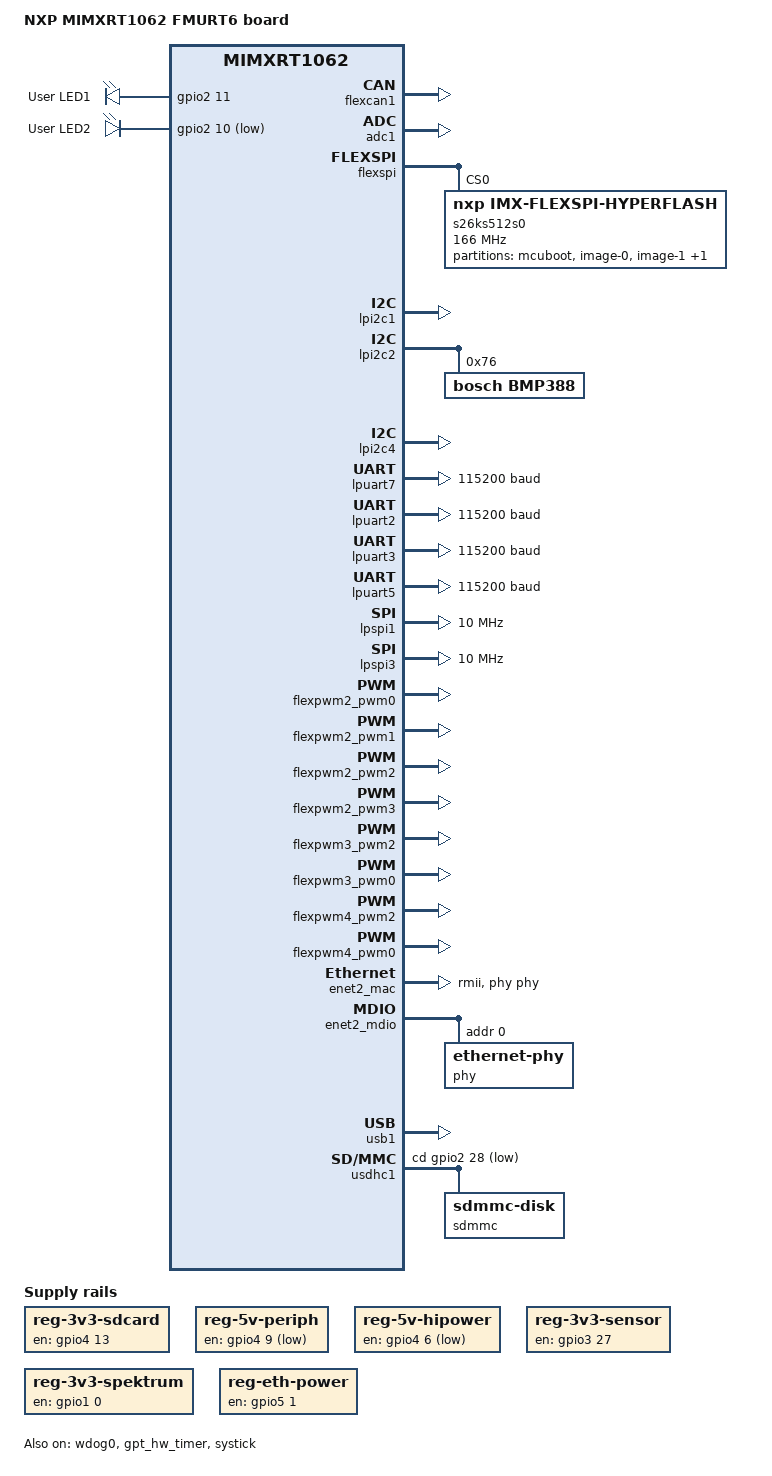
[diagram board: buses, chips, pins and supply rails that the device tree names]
/*
 * SPDX-License-Identifier: Apache-2.0
 *
 * Copyright 2023 NXP
 */

/dts-v1/;

#include <nxp/nxp_rt1060.dtsi>
#include "mimxrt1062_fmurt6-pinctrl.dtsi"
#include <zephyr/dt-bindings/pwm/pwm.h>
#include <freq.h>

/ {
	model = "NXP MIMXRT1062 FMURT6 board";
	compatible = "nxp,mimxrt1062";

	aliases {
		led0 = &green_led;
		led1 = &red_led;
		watchdog0 = &wdog0;
		sdhc0 = &usdhc1;
		gps1 = &lpuart2;
		telem1 = &lpuart3;
		telem4-gps2 = &lpuart5;
	};

	chosen {
		zephyr,flash-controller = &s26ks512s0;
		zephyr,flash = &s26ks512s0;
		zephyr,code-partition = &slot0_partition;
		zephyr,uart-mcumgr = &lpuart7;
		zephyr,sram = &ocram;
		zephyr,itcm = &itcm;
		zephyr,dtcm = &dtcm;
		zephyr,console = &lpuart7;
		zephyr,shell-uart = &lpuart7;
		zephyr,canbus = &flexcan1;
	};

	leds {
		compatible = "gpio-leds";
		green_led: led-1 {
			gpios = <&gpio2 11 GPIO_ACTIVE_HIGH>;
			label = "User LED1";
		};
		red_led: led-2 {
			gpios = <&gpio2 10 GPIO_ACTIVE_LOW>;
			label = "User LED2";
		};
	};

	/* This regulator controls VDD_3V3_SD_CARD onboard supply */
	reg-3v3-sdcard {
		compatible = "regulator-fixed";
		regulator-name = "reg-3v3-sdcard";
		enable-gpios = <&gpio4 13 GPIO_ACTIVE_HIGH>;
		regulator-always-on;
		status = "okay";
	};

	/* This regulator controls VDD_5V_PERIPH onboard supply */
	reg-5v-periph {
		compatible = "regulator-fixed";
		regulator-name = "reg-5v-periph";
		enable-gpios = <&gpio4 9 GPIO_ACTIVE_LOW>;
		regulator-always-on;
		status = "okay";
	};

	/* This regulator controls VDD_5V_HIPOWER onboard supply */
	reg-5v-hipower {
		compatible = "regulator-fixed";
		regulator-name = "reg-5v-hipower";
		enable-gpios = <&gpio4 6 GPIO_ACTIVE_LOW>;
		regulator-always-on;
		status = "okay";
	};

	/* This regulator controls the 3V3_S line, which powers sensors on-board. */
	reg-3v3-sensor {
		compatible = "regulator-fixed";
		regulator-name = "reg-3v3-sensor";
		enable-gpios = <&gpio3 27 GPIO_ACTIVE_HIGH>;
		startup-delay-us = <2000>;
		regulator-always-on;
		status = "okay";
	};

	/* This regulator controls VDD_3V3_SPEKTRUM onboard supply */
	reg-3v3-spektrum {
		compatible = "regulator-fixed";
		regulator-name = "reg-3v3-spektrum";
		enable-gpios = <&gpio1 0 GPIO_ACTIVE_HIGH>;
		regulator-always-on;
		status = "okay";
	};

	/* This regulator controls ETH_VDD_3V3 supply to power up the TJA1103 PHY */
	reg-eth-power {
		compatible = "regulator-fixed";
		regulator-name = "reg-eth-power";
		enable-gpios = <&gpio5 1 GPIO_ACTIVE_HIGH>;
		regulator-always-on;
		status = "okay";
	};
};

&flexcan1 {
	status = "okay";
	pinctrl-0 = <&pinmux_flexcan1>;
	pinctrl-names = "default";
	can-transceiver {
		max-bitrate = <5000000>;
	};
};

&flexcan2 {
	status = "disabled";
	pinctrl-0 = <&pinmux_flexcan2>;
	pinctrl-names = "default";
	can-transceiver {
		max-bitrate = <5000000>;
	};
};

&flexcan3 {
	status = "disabled";
	pinctrl-0 = <&pinmux_flexcan3>;
	pinctrl-names = "default";
	can-transceiver {
		max-bitrate = <5000000>;
	};
};

&gpio1 {
	status = "okay";
};

&gpio2 {
	status = "okay";
};

&gpio3 {
	status = "okay";
};

&gpio4 {
	status = "okay";
};

&gpio5 {
	status = "okay";
};

&gpio6 {
	status = "okay";
};

&gpio7 {
	status = "okay";
};

&gpio8 {
	status = "okay";
};

&gpio9 {
	status = "okay";
};

&adc1 {
	status = "okay";
	pinctrl-0 = <&pinmux_adc1>;
	pinctrl-names = "default";
};

&flexspi {
	status = "okay";
	ahb-prefetch;
	ahb-read-addr-opt;
	ahb-bufferable;
	ahb-cacheable;
	sck-differential-clock;
	combination-mode;
	rx-clock-source = <3>;
	reg = <0x402a8000 0x4000>, <0x60000000 DT_SIZE_M(64)>;
	s26ks512s0: s26ks512s@0 {
		compatible = "nxp,imx-flexspi-hyperflash";
		size = <DT_SIZE_M(64*8)>;
		reg = <0>;
		spi-max-frequency = <166000000>;
		word-addressable;
		cs-interval-unit = <1>;
		cs-interval = <2>;
		cs-hold-time = <0>;
		cs-setup-time = <3>;
		data-valid-time = <1>;
		column-space = <3>;
		ahb-write-wait-unit = <2>;
		ahb-write-wait-interval = <20>;
		status = "okay";
		erase-block-size = <4096>;
		write-block-size = <16>;

		partitions {
			compatible = "fixed-partitions";
			#address-cells = <1>;
			#size-cells = <1>;
			boot_partition: partition@0 {
				label = "mcuboot";
				reg = <0x00000000 DT_SIZE_K(128)>;
			};
			/* The MCUBoot swap-move algorithm uses the last 14 sectors
			 * of the primary slot0 for swap status and move.
			 */
			slot0_partition: partition@20000 {
				label = "image-0";
				reg = <0x00020000 (DT_SIZE_M(3) + DT_SIZE_K(56))>;
			};
			slot1_partition: partition@32E000 {
				label = "image-1";
				reg = <0x0032E000 DT_SIZE_M(3)>;
			};
			storage_partition: partition@62E000 {
				label = "storage";
				reg = <0x0062E000 (DT_SIZE_M(58) - DT_SIZE_K(184))>;
			};
		};
	};
};

&lpi2c1 {
	status = "okay";
	pinctrl-0 = <&pinmux_lpi2c1>;
	pinctrl-names = "default";

};

&lpi2c2 {
	status = "okay";
	pinctrl-0 = <&pinmux_lpi2c2>;
	pinctrl-names = "default";

	bmp388: bmp388@76 {
		compatible = "bosch,bmp388";
		reg = <0x76>;
		status = "okay";
	};
};

&lpi2c4 {
	status = "okay";
	pinctrl-0 = <&pinmux_lpi2c2>;
	pinctrl-names = "default";

	bmm150: bmm150@10 {
		compatible = "bosch,bmm150";
		status = "disabled";
		reg = <0x10>;
	};

};

&lpuart7 {
	status = "okay";
	current-speed = <115200>;
	pinctrl-0 = <&pinmux_lpuart7>;
	pinctrl-1 = <&pinmux_lpuart7_sleep>;
	pinctrl-names = "default", "sleep";
};

&lpuart2 {
	status = "okay";
	current-speed = <115200>;
	pinctrl-0 = <&pinmux_lpuart2>;
	pinctrl-1 = <&pinmux_lpuart2_sleep>;
	pinctrl-names = "default", "sleep";
};

&lpuart3 {
	status = "okay";
	current-speed = <115200>;
	pinctrl-0 = <&pinmux_lpuart3>;
	pinctrl-1 = <&pinmux_lpuart3_sleep>;
	pinctrl-names = "default", "sleep";
};

&lpuart5 {
	status = "okay";
	current-speed = <115200>;
	pinctrl-0 = <&pinmux_lpuart5>;
	pinctrl-1 = <&pinmux_lpuart5_sleep>;
	pinctrl-names = "default", "sleep";
};

&lpspi1 {
	status = "okay";
	pinctrl-0 = <&pinmux_lpspi1>;
	pinctrl-names = "default";
	cs-gpios = <&gpio3 23 GPIO_ACTIVE_LOW>;
	clock-frequency = <DT_FREQ_M(10)>;
};

&lpspi2 {
	status = "disabled";
	pinctrl-0 = <&pinmux_lpspi2>;
	pinctrl-names = "default";
	clock-frequency = <DT_FREQ_M(1)>;

	ism330dhcx: ism330dhcx@0 {
		compatible = "st,ism330dhcx";
		status = "disabled";
		spi-max-frequency = <1000000>;
		reg = <0>;
	};
};


&lpspi3 {
	status = "okay";
	pinctrl-0 = <&pinmux_lpspi3>;
	pinctrl-names = "default";
	/* Accelerometer */
	/* Gyroscope */
	cs-gpios = <&gpio2 31 GPIO_ACTIVE_LOW>,
		   <&gpio2 26 GPIO_ACTIVE_LOW>;

	clock-frequency = <DT_FREQ_M(10)>;
};

&flexpwm2_pwm0 {
	status = "okay";
	pinctrl-0 = <&pinmux_flexpwm_fmu_ch1>;
	pinctrl-names = "default";
	nxp,prescaler = <64>;
};

&flexpwm2_pwm1 {
	status = "okay";
	pinctrl-0 = <&pinmux_flexpwm_fmu_ch2>;
	pinctrl-names = "default";
	nxp,prescaler = <64>;
};

&flexpwm2_pwm2	{
	status = "okay";
	pinctrl-0 = <&pinmux_flexpwm_fmu_ch3>;
	pinctrl-names = "default";
	nxp,prescaler = <64>;
};

&flexpwm2_pwm3	{
	status = "okay";
	pinctrl-0 = <&pinmux_flexpwm_fmu_ch4>;
	pinctrl-names = "default";
	nxp,prescaler = <64>;
};

&flexpwm3_pwm2	{
	status = "okay";
	pinctrl-0 = <&pinmux_flexpwm_fmu_ch5>;
	pinctrl-names = "default";
	nxp,prescaler = <64>;
};

&flexpwm3_pwm0	{
	status = "okay";
	pinctrl-0 = <&pinmux_flexpwm_fmu_ch6>;
	pinctrl-names = "default";
	nxp,prescaler = <64>;
};

&flexpwm4_pwm2	{
	status = "okay";
	pinctrl-0 = <&pinmux_flexpwm_fmu_ch7>;
	pinctrl-names = "default";
	nxp,prescaler = <64>;
};

&flexpwm4_pwm0	{
	status = "okay";
	pinctrl-0 = <&pinmux_flexpwm_fmu_ch8>;
	pinctrl-names = "default";
	nxp,prescaler = <64>;
};

&enet2_mac {
	pinctrl-0 = <&pinmux_enet>;
	pinctrl-names = "default";
	zephyr,random-mac-address;
	phy-connection-type = "rmii";
	phy-handle = <&phy>;
};

&enet2_mdio {
	status = "okay";
	pinctrl-0 = <&pinmux_enet>;
	pinctrl-names = "default";
	phy: phy@0 {
		compatible = "ethernet-phy";
		reg = <0>;
		status = "okay";
	};
};

zephyr_udc0: &usb1 {
	status = "okay";
};

&usdhc1 {
	status = "okay";
	power-delay-ms = <1000>;
	pwr-gpios = <&gpio1 5 GPIO_ACTIVE_HIGH>;
	cd-gpios = <&gpio2 28 GPIO_ACTIVE_LOW>;
	pinctrl-0 = <&pinmux_usdhc1>;
	pinctrl-1 = <&pinmux_usdhc1_slow>;
	pinctrl-2 = <&pinmux_usdhc1_med>;
	pinctrl-3 = <&pinmux_usdhc1_fast>;
	pinctrl-names = "default", "slow", "med", "fast";
	sdmmc {
		compatible = "zephyr,sdmmc-disk";
		status = "okay";
	};
};

&wdog0 {
	status = "okay";
};

&edma0 {
	status = "okay";
};

/* GPT and Systick are enabled. If power management is enabled, the GPT
 * timer will be used instead of systick, as allows the core clock to
 * be gated.
 */
&gpt_hw_timer {
	status = "okay";
};

&systick {
	status = "okay";
};

&iomuxcgpr {
	status = "okay";
};

&itm {
	pinctrl-0 = <&pinmux_swo>;
	pinctrl-names = "default";
};
